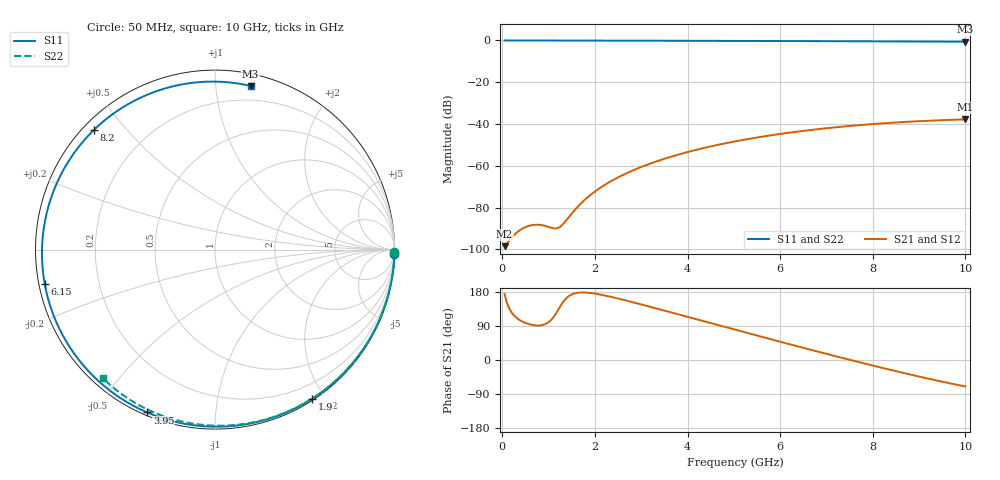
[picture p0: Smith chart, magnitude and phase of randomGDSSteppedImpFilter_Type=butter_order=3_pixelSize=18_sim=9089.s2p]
! freq	dB(S11)	phase(S11)	dB(S12)	phase(S12)
!  dB(S21)	phase(S21)	dB(S22)	phase(S22)
!S-par simulation data
#  GHz  S  DB  R 50
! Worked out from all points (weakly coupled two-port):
!   200 points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, 50 MHz to 10 GHz, reference 50 ohm
!   highest |S21| = -37.80 dB at 10 GHz (marker M1); lowest = -98.5 dB at 50 MHz (marker M2)
!   lowest |S11| = -0.6 dB at 10 GHz (marker M3), VSWR 28.94, Z = 4.38 + j61.8 ohm
!   |S11| at or under -10 dB: nowhere
!   |S22| runs from -0.4 to 0.0 dB; largest |S21 - S12| = 0
!   S11 on the Smith chart (normalised r, x): 50 MHz: 0, -74; 1.9 GHz: 0.02, -1.85; 3.95 GHz: 0.01, -0.67; 6.15 GHz: 0.02, -0.10; 8.2 GHz: 0.03, +0.41; 10 GHz: 0.09, +1.24
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0.05  -0.00 -1.6  -98.52 173.9  -98.52 173.9  -0.00 -0.8
0.8  -0.03 -24.5  -88.29 91.3  -88.29 91.3  -0.01 -12.1
1.6  -0.06 -48.2  -80.31 176.8  -80.31 176.8  -0.03 -23.9
1.75  -0.07 -52.6  -76.94 178.2  -76.94 178.2  -0.03 -26.1
1.9  -0.07 -56.9  -74.05 176.9  -74.05 176.9  -0.04 -28.3
2.2  -0.08 -65.4  -69.34 170.6  -69.34 170.6  -0.04 -32.7
2.55  -0.09 -75.2  -65.01 160.7  -65.01 160.7  -0.05 -37.7
2.95  -0.11 -86.2  -61.03 148.3  -61.03 148.3  -0.06 -43.4
3.4  -0.13 -98.2  -57.39 133.6  -57.39 133.6  -0.07 -49.7
3.95  -0.15 -112.6  -53.74 115.5  -53.74 115.5  -0.08 -57.3
4.5  -0.18 -126.7  -50.75 97.2  -50.75 97.2  -0.09 -64.8
5.05  -0.21 -140.6  -48.24 79.1  -48.24 79.1  -0.11 -72.0
5.6  -0.24 -154.5  -46.11 61.1  -46.11 61.1  -0.13 -79.1
6.15  -0.28 -168.5  -44.31 43.2  -44.31 43.2  -0.15 -86.0
6.7  -0.33 177.2  -42.77 25.7  -42.77 25.7  -0.18 -92.8
7.45  -0.39 156.8  -41.05 2.2  -41.05 2.2  -0.22 -101.8
8.2  -0.46 135.3  -39.71 -20.7  -39.71 -20.7  -0.27 -110.6
8.35  -0.47 130.8  -39.48 -25.1  -39.48 -25.1  -0.29 -112.4
8.8  -0.51 117.0  -38.89 -38.1  -38.89 -38.1  -0.32 -117.5
9.2  -0.54 104.3  -38.45 -49.3  -38.45 -49.3  -0.36 -122.1
9.6  -0.57 91.2  -38.10 -59.9  -38.10 -59.9  -0.40 -126.6
10  -0.60 77.8  -37.80 -69.9  -37.80 -69.9  -0.44 -131.1
